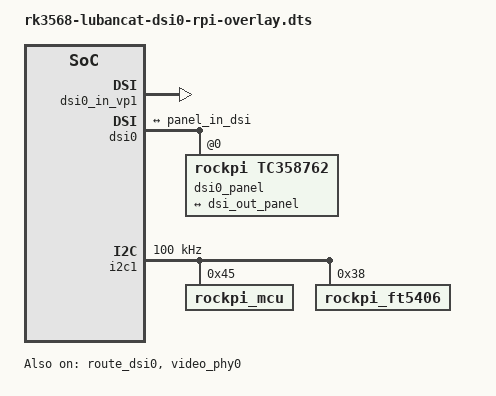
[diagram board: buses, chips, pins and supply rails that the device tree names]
/dts-v1/;
/plugin/;

#include <dt-bindings/gpio/gpio.h>
#include <dt-bindings/pinctrl/rockchip.h>

#include <dt-bindings/display/drm_mipi_dsi.h>
#include <dt-bindings/sensor-dev.h>

/ {
	fragment@0 {
		target = <&route_dsi0>;

		__overlay__ {
			status = "okay";
			connect = <&vp1_out_dsi0>;
		};
	};

	fragment@1 {
		target = <&video_phy0>;

		__overlay__ {
			status = "okay";
		};
	};

	fragment@2 {
		target = <&dsi0_in_vp0>;

		__overlay__ {
			status = "disabled";
		};
	};

	fragment@3 {
		target = <&dsi0_in_vp1>;

		__overlay__ {
			status = "okay";
		};
	};

	fragment@4 {
		target = <&dsi0>;

		__overlay__ {
			status = "okay";
			power-supply = <&mipi_dsi0_power>;
			#address-cells = <1>;
			#size-cells = <0>;

			dsi0_panel: panel@0 {
				compatible = "rockpi,tc358762";
				reg = <0x0>;
				status = "okay";

				ports {
					#address-cells = <1>;
					#size-cells = <0>;
					port@0 {
						reg = <0>;
						panel_in_dsi: endpoint {
							remote-endpoint = <&dsi_out_panel>;
						};
					};
				};
			};

			ports {
				#address-cells = <1>;
				#size-cells = <0>;

				port@1 {
					reg = <1>;
					dsi_out_panel: endpoint {
						remote-endpoint = <&panel_in_dsi>;
					};
				};
			};
		};
	};

	fragment@5 {
		target = <&i2c1>;

		__overlay__ {
			status = "okay";
			clock-frequency = <100000>;
			#address-cells = <1>;
			#size-cells = <0>;

			rockpi_mcu: rockpi-mcu@45 {
				compatible = "rockpi_mcu";
				reg = <0x45>;
				status = "okay";
			};

			rockpi_ft5406: rockpi_ft5406@38 {
				compatible = "rockpi_ft5406";
				reg = <0x38>;
				status = "okay";
			};
		};
	};
};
